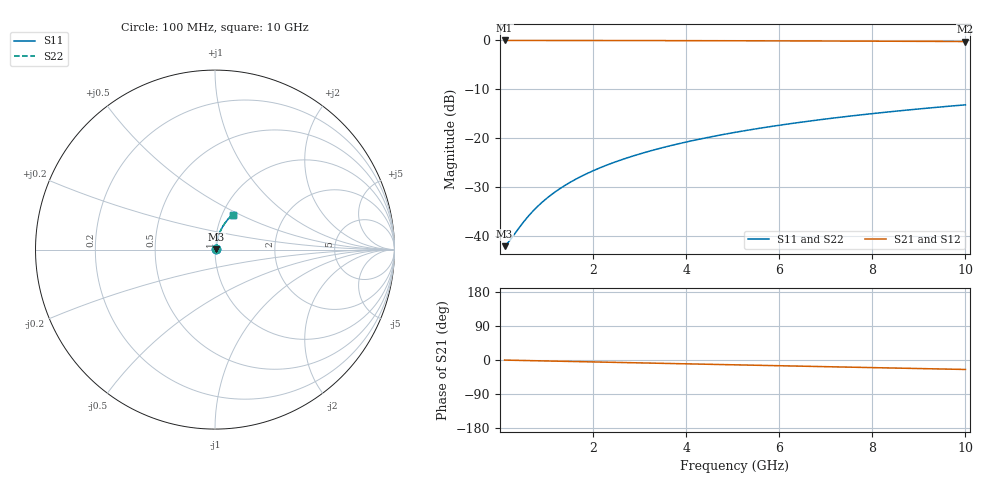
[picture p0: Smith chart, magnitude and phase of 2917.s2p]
# Hz S RI R 50.00
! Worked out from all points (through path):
!   100 points, 100 MHz to 10 GHz, reference 50 ohm
!   highest |S21| = -0.07 dB at 100 MHz (marker M1); lowest = -0.3 dB at 10 GHz (marker M2)
!   group delay of S21, straight-line fit = 6.94 ps
!   lowest |S11| = -42.1 dB at 100 MHz (marker M3), VSWR 1.02, Z = 50.8 + j0.229 ohm
!   |S11| at or under -10 dB: start of sweep to end of sweep
!   |S22| runs from -42.1 to -13.2 dB; largest |S21 - S12| = 0
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1e8  0.00753 0.00225  0.9925 -0.00438  0.9925 -0.00438  0.00753 0.00225
2e8  0.00761 0.0045  0.9924 -0.00877  0.9924 -0.00877  0.00761 0.0045
5e8  0.0079 0.0112  0.992 -0.0219  0.992 -0.0219  0.0079 0.0112
6e8  0.00804 0.0135  0.9919 -0.0263  0.9919 -0.0263  0.00804 0.0135
7e8  0.00818 0.0157  0.9917 -0.0307  0.9917 -0.0307  0.00818 0.0157
9e8  0.00854 0.0202  0.9913 -0.0394  0.9913 -0.0394  0.00854 0.0202
1.1e9  0.00896 0.0247  0.9907 -0.0482  0.9907 -0.0482  0.00896 0.0247
1.3e9  0.00947 0.0292  0.9901 -0.0569  0.9901 -0.0569  0.00947 0.0292
1.5e9  0.01 0.0336  0.9894 -0.0656  0.9894 -0.0656  0.01 0.0336
1.8e9  0.0111 0.0403  0.9882 -0.0787  0.9882 -0.0787  0.0111 0.0403
2.1e9  0.0122 0.0469  0.9867 -0.0917  0.9867 -0.0917  0.0122 0.0469
2.5e9  0.0141 0.0557  0.9844 -0.109  0.9844 -0.109  0.0141 0.0557
2.9e9  0.0162 0.0644  0.9818 -0.1263  0.9818 -0.1263  0.0162 0.0644
3.4e9  0.0194 0.0752  0.9779 -0.1477  0.9779 -0.1477  0.0194 0.0752
3.8e9  0.0222 0.0837  0.9744 -0.1648  0.9744 -0.1648  0.0222 0.0837
4.2e9  0.0253 0.092  0.9706 -0.1817  0.9706 -0.1817  0.0253 0.092
5.1e9  0.0334 0.1104  0.9606 -0.2193  0.9606 -0.2193  0.0334 0.1104
5.9e9  0.0417 0.1261  0.9502 -0.2521  0.9502 -0.2521  0.0417 0.1261
6.7e9  0.051 0.1411  0.9385 -0.2843  0.9385 -0.2843  0.051 0.1411
7.5e9  0.0614 0.1554  0.9255 -0.3157  0.9255 -0.3157  0.0614 0.1554
8.4e9  0.0741 0.1704  0.9094 -0.3501  0.9094 -0.3501  0.0741 0.1704
1e10  0.0992 0.1944  0.8773 -0.4086  0.8773 -0.4086  0.0992 0.1944
